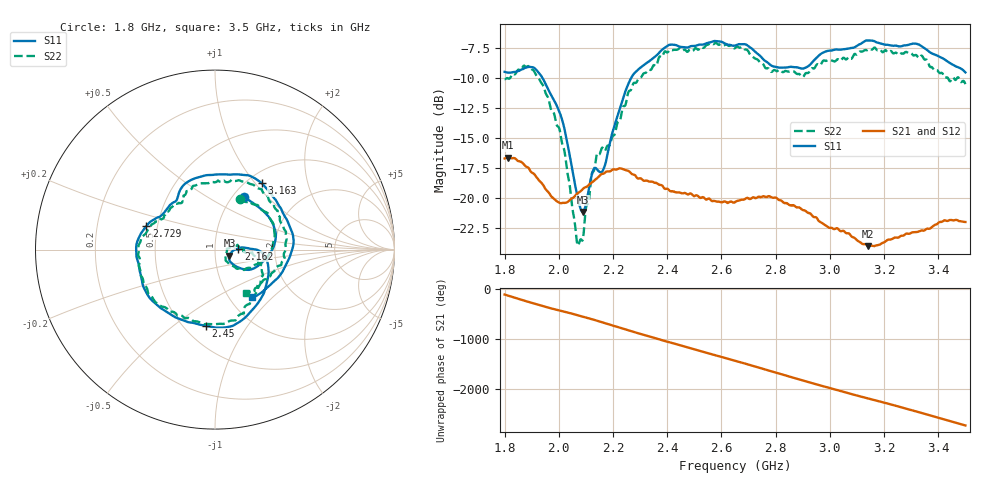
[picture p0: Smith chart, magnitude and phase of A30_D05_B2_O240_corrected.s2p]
! Created with skrf 1.9.0 (http://scikit-rf.org).
# Hz S RI R 50.0
!freq ReS11 ImS11 ReS21 ImS21 ReS12 ImS12 ReS22 ImS22
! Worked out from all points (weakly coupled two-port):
!   1601 points, 1.8 GHz to 3.5 GHz, reference 50 ohm
!   highest |S21| = -16.64 dB at 1.812 GHz (marker M1); lowest = -24.1 dB at 3.142 GHz (marker M2)
!   lowest |S11| = -21.2 dB at 2.088 GHz (marker M3), VSWR 1.19, Z = 58.6 - j3.99 ohm
!   |S11| at or under -10 dB: 1.94 GHz to 2.266 GHz (326 MHz wide, 15.5 % of centre)
!   |S22| runs from -24.0 to -7.0 dB; largest |S21 - S12| = 0.0026
!   S11 on the Smith chart (normalised r, x): 1.8 GHz: 1.13, +0.75; 2.162 GHz: 1.30, +0.01; 2.45 GHz: 0.63, -0.66; 2.729 GHz: 0.43, +0.14; 3.163 GHz: 1.17, +1.08; 3.5 GHz: 1.27, -0.75
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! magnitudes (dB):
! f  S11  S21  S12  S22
! 1.8 GHz  -9.5  -16.7  -16.7  -10.1
! 1.812 GHz  -9.5  -16.6  -16.6  -10.0
! 1.887 GHz  -9.1  -17.5  -17.5  -9.0
! 1.941 GHz  -10.0  -18.9  -18.9  -10.6
! 2.011 GHz  -13.4  -20.4  -20.4  -15.4
! 2.066 GHz  -19.6  -19.7  -19.7  -23.5
! 2.084 GHz  -21.1  -19.4  -19.4  -23.5
! 2.088 GHz  -21.2  -19.3  -19.3  -23.6
! 2.126 GHz  -17.7  -18.7  -18.7  -17.8
! 2.162 GHz  -17.7  -18.0  -17.9  -15.8
! 2.261 GHz  -10.2  -17.8  -17.9  -11.0
! 2.367 GHz  -7.9  -18.9  -18.8  -8.4
! 2.45 GHz  -7.4  -19.6  -19.6  -7.6
! 2.65 GHz  -7.3  -20.4  -20.3  -7.5
! 2.729 GHz  -7.9  -20.0  -20.0  -8.4
! 2.807 GHz  -9.1  -20.1  -20.1  -9.4
! 2.934 GHz  -8.7  -21.5  -21.5  -9.2
! 3.142 GHz  -6.8  -24.1  -23.9  -7.6
! 3.163 GHz  -6.9  -24.1  -24.0  -7.4
! 3.217 GHz  -7.2  -23.5  -23.5  -7.8
! 3.325 GHz  -7.1  -22.9  -22.8  -8.2
! 3.5 GHz  -9.5  -22.0  -22.0  -10.5
